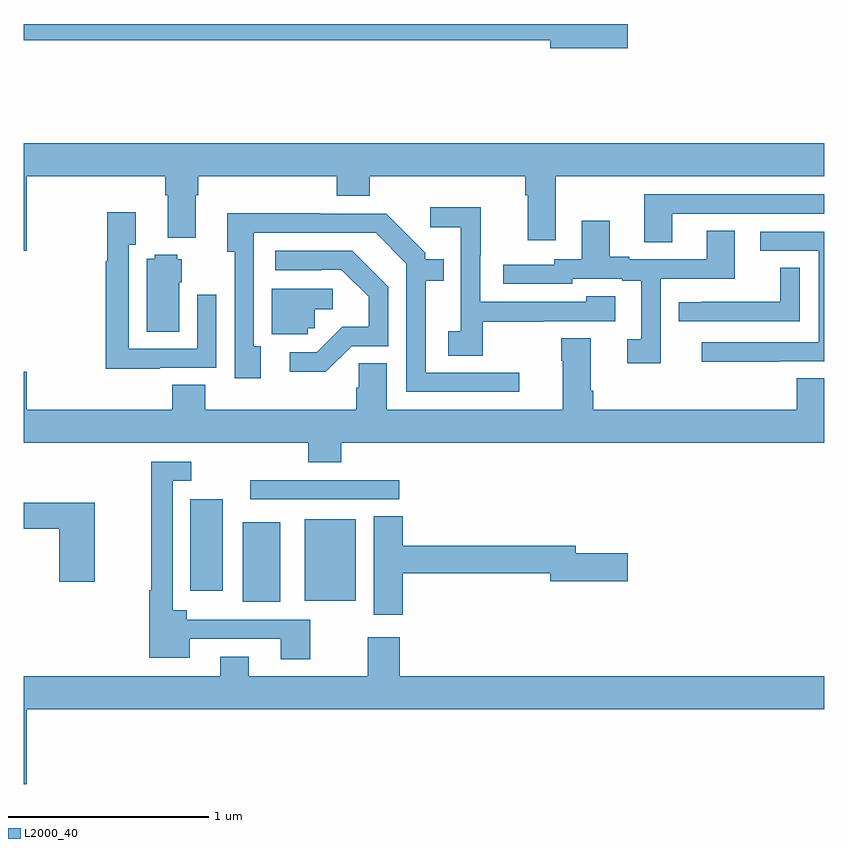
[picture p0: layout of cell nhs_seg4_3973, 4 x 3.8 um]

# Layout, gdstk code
import gdstk
lib = gdstk.Library(unit=1e-6, precision=1e-09)
def R(c, l, rs):  # rectangles x0, y0, x1, y1
    for r in rs: c.add(gdstk.rectangle(r[:2], r[2:], *l))
def P(c, l, *ps):  # polygons
    for p in ps: c.add(gdstk.Polygon(p, *l))
L2000_40 = (2000, 40)

nhs_seg4_3973 = lib.new_cell('nhs_seg4_3973')
R(nhs_seg4_3973, L2000_40, [(322.094,808.013,322.282,808.411), (322.403,808.019,322.66,808.426), (321.833,808.068,321.994,808.525), (322.131,808.524,322.876,808.62)])
P(nhs_seg4_3973, L2000_40, [(324.019,810.9),(321,810.9),(321,810.82),(323.63,810.82),(323.63,810.778),(324.019,810.778)],
  [(321.016,810.14),(321.707,810.14),(321.707,810.044),(321.719,810.044),(321.719,809.831),(321.859,809.831),(321.859,810.044),(321.872,810.044),(321.872,810.14),(322.565,810.14),(322.565,810.041),(322.73,810.041),(322.73,810.14),(323.507,810.14),(323.507,810.044),(323.519,810.044),(323.519,809.82),(323.659,809.82),(323.659,810.14),(325,810.14),(325,810.304),(321,810.304),(321,809.766),(321.016,809.766)],
  [(324.241,809.952),(325,809.952),(325,810.048),(324.101,810.048),(324.101,809.809),(324.241,809.809)],
  [(323.293,809.413),(323.597,809.413),(323.597,809.415),(323.956,809.415),(323.956,809.539),(323.811,809.539),(323.811,809.511),(323.28,809.511),(323.28,809.744),(323.283,809.744),(323.283,809.983),(323.031,809.983),(323.031,809.885),(323.184,809.885),(323.184,809.364),(323.121,809.364),(323.121,809.242),(323.293,809.242)],
  [(321.679,809.181),(321.963,809.181),(321.963,809.548),(321.867,809.548),(321.867,809.277),(321.525,809.277),(321.525,809.798),(321.559,809.798),(321.559,809.959),(321.417,809.959),(321.417,809.714),(321.409,809.714),(321.409,809.177),(321.679,809.177)],
  [(323.476,809.157),(323.008,809.157),(323.008,809.616),(323.099,809.616),(323.099,809.725),(323.007,809.725),(323.007,809.757),(322.812,809.952),(322.481,809.952),(322.481,809.954),(322.016,809.954),(322.016,809.762),(322.053,809.762),(322.053,809.13),(322.183,809.13),(322.183,809.29),(322.149,809.29),(322.149,809.856),(322.758,809.856),(322.911,809.703),(322.911,809.061),(323.476,809.061)],
  [(324.183,809.628),(324.553,809.628),(324.553,809.867),(324.413,809.867),(324.413,809.724),(324.025,809.724),(324.025,809.737),(323.929,809.737),(323.929,809.917),(323.789,809.917),(323.789,809.724),(323.652,809.724),(323.652,809.697),(323.397,809.697),(323.397,809.601),(323.742,809.601),(323.742,809.628),(323.99,809.628),(323.99,809.616),(324.086,809.616),(324.086,809.325),(324.015,809.325),(324.015,809.205),(324.183,809.205)],
  [(324.779,809.214),(325,809.214),(325,809.862),(324.681,809.862),(324.681,809.766),(324.972,809.766),(324.972,809.31),(324.387,809.31),(324.387,809.212),(324.779,809.212)],
  [(322.638,809.289),(322.821,809.289),(322.821,809.587),(322.642,809.766),(322.257,809.766),(322.257,809.67),(322.487,809.67),(322.487,809.673),(322.587,809.673),(322.724,809.536),(322.724,809.386),(322.591,809.386),(322.464,809.259),(322.329,809.259),(322.329,809.162),(322.51,809.162)],
  [(321.778,809.61),(321.79,809.61),(321.79,809.724),(321.768,809.724),(321.768,809.746),(321.654,809.746),(321.654,809.728),(321.614,809.728),(321.614,809.362),(321.778,809.362)],
  [(324.879,809.681),(324.781,809.681),(324.781,809.511),(324.385,809.511),(324.385,809.51),(324.273,809.51),(324.273,809.415),(324.879,809.415)],
  [(322.419,809.379),(322.455,809.379),(322.455,809.474),(322.543,809.474),(322.543,809.577),(322.238,809.577),(322.238,809.349),(322.419,809.349)],
  [(322.586,808.808),(325,808.808),(325,809.129),(324.863,809.129),(324.863,808.972),(323.846,808.972),(323.846,809.068),(323.833,809.068),(323.833,809.329),(323.686,809.329),(323.686,809.216),(323.693,809.216),(323.693,808.972),(322.813,808.972),(322.813,809.204),(322.675,809.204),(322.675,809.082),(322.661,809.082),(322.661,808.972),(321.908,808.972),(321.908,809.096),(321.743,809.096),(321.743,808.972),(321.016,808.972),(321.016,809.161),(321,809.161),(321,808.808),(322.421,808.808),(322.421,808.709),(322.586,808.709)],
  [(322.431,807.924),(321.814,807.924),(321.814,807.97),(321.744,807.97),(321.744,808.617),(321.838,808.617),(321.838,808.713),(321.636,808.713),(321.636,808.07),(321.628,808.07),(321.628,807.734),(321.829,807.734),(321.829,807.828),(322.283,807.828),(322.283,807.726),(322.431,807.726)],
  [(321.354,808.507),(321,808.507),(321,808.378),(321.176,808.378),(321.176,808.113),(321.354,808.113)],
  [(322.895,808.156),(323.63,808.156),(323.63,808.114),(324.019,808.114),(324.019,808.256),(323.758,808.256),(323.758,808.292),(322.895,808.292),(322.895,808.439),(322.748,808.439),(322.748,807.948),(322.895,807.948)],
  [(321.016,807.476),(325,807.476),(325,807.64),(322.88,807.64),(322.88,807.835),(322.72,807.835),(322.72,807.64),(322.123,807.64),(322.123,807.739),(321.983,807.739),(321.983,807.64),(321,807.64),(321,807.102),(321.016,807.102)])

lib.write_gds('nhs_seg4_3973.gds')
